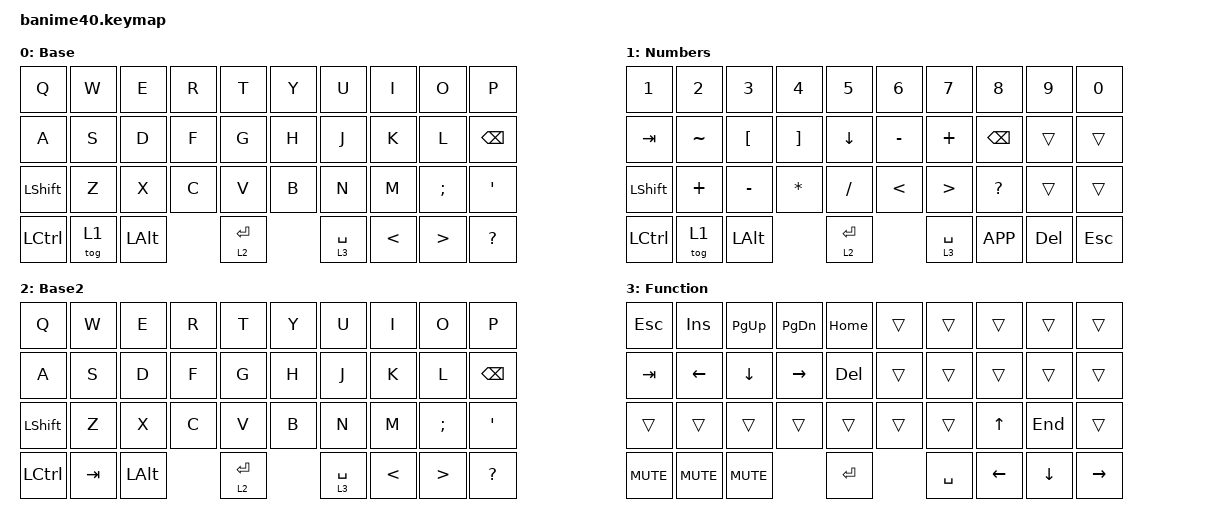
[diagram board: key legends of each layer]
/*
 * Copyright (c) 2024 The ZMK Contributors
 *
 * SPDX-License-Identifier: MIT
 */

#include <behaviors.dtsi>
#include <dt-bindings/zmk/keys.h>

/ {
    keymap {
        compatible = "zmk,keymap";

        default_layer {
            label = "Base";
            bindings = <
&kp Q      &kp W   &kp E     &kp R  &kp T      &kp Y  &kp U        &kp I   &kp O     &kp P
&kp A      &kp S   &kp D     &kp F  &kp G      &kp H  &kp J        &kp K   &kp L     &kp BSPC
&kp LSHFT  &kp Z   &kp X     &kp C  &kp V      &kp B  &kp N        &kp M   &kp SEMI  &kp SQT
&kp LCTRL  &tog 1  &kp LALT         &lt 2 RET         &lt 3 SPACE  &kp LT  &kp GT    &kp QMARK
            >;
        };

        num_layer {
            label = "Numbers";
            bindings = <
&kp N1     &kp NUMBER_2  &kp N3     &kp N4     &kp N5     &kp N6     &kp N7       &kp N8     &kp N9   &kp N0
&kp TAB    &kp TILDE     &kp LBKT   &kp RBKT   &kp DOWN   &kp MINUS  &kp PLUS     &kp BSPC   &trans   &trans
&kp LSHFT  &kp PLUS      &kp MINUS  &kp ASTRK  &kp FSLH   &kp LT     &kp GT       &kp QMARK  &trans   &trans
&kp LCTRL  &tog 1        &kp LALT              &lt 2 RET             &lt 3 SPACE  &kp K_APP  &kp DEL  &kp ESC
            >;
        };

        base_repeat_layer {
            label = "Base2";
            bindings = <
&kp Q      &kp W    &kp E     &kp R  &kp T      &kp Y  &kp U        &kp I   &kp O     &kp P
&kp A      &kp S    &kp D     &kp F  &kp G      &kp H  &kp J        &kp K   &kp L     &kp BSPC
&kp LSHFT  &kp Z    &kp X     &kp C  &kp V      &kp B  &kp N        &kp M   &kp SEMI  &kp SQT
&kp LCTRL  &kp TAB  &kp LALT         &lt 2 RET         &lt 3 SPACE  &kp LT  &kp GT    &kp QMARK
            >;
        };

        func_layer {
            label = "Function";
            bindings = <
&kp ESC     &kp INS     &kp PG_UP   &kp PG_DN  &kp HOME  &trans  &trans     &trans    &trans    &trans
&kp TAB     &kp LEFT    &kp DOWN    &kp RIGHT  &kp DEL   &trans  &trans     &trans    &trans    &trans
&trans      &trans      &trans      &trans     &trans    &trans  &trans     &kp UP    &kp END   &trans
&kp C_MUTE  &kp C_MUTE  &kp C_MUTE             &kp RET           &kp SPACE  &kp LEFT  &kp DOWN  &kp RIGHT
            >;
        };
    };
};
